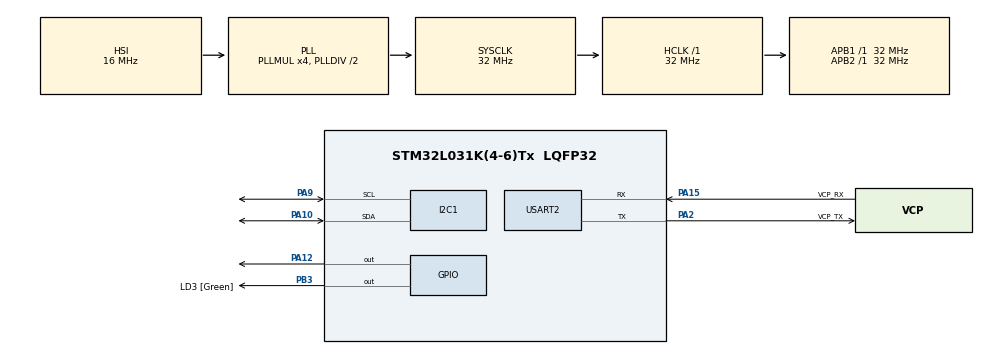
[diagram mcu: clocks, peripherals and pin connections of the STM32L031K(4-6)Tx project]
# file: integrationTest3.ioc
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Mcu.Family=STM32L0
RCC.MSI_VALUE=2097000
PC15-OSC32_OUT.Mode=LSE-External-Oscillator
PA10.Mode=I2C
PA14.GPIO_Label=TCK
VP_RTC_VS_RTC_Activate.Mode=RTC_Enabled
PC14-OSC32_IN.Signal=RCC_OSC32_IN
RCC.SYSCLKSource=RCC_SYSCLKSOURCE_PLLCLK
ProjectManager.StackSize=0x400
PA13.Signal=SYS_SWDIO
RCC.HSI16_VALUE=16000000
PA15.GPIO_Label=VCP_RX
PA9.Mode=I2C
PA12.Signal=GPIO_Output
ProjectManager.TargetToolchain=STM32CubeIDE
RCC.HCLKFreq_Value=32000000
RCC.APB2TimFreq_Value=32000000
PA9.Signal=I2C1_SCL
I2C1.Timing=0x00707CBB
PC15-OSC32_OUT.Signal=RCC_OSC32_OUT
RCC.AHBFreq_Value=32000000
RCC.HSE_VALUE=8000000
board=NUCLEO-L031K6
USART2.VirtualMode-Asynchronous=VM_ASYNC
RCC.VCOOutputFreq_Value=64000000
PA15.Mode=Asynchronous
RCC.PLLMUL=RCC_PLLMUL_4
RCC.APB2Freq_Value=32000000
PC14-OSC32_IN.Mode=LSE-External-Oscillator
PA14.Mode=Serial_Wire
PA13.Mode=Serial_Wire
Mcu.Name=STM32L031K(4-6)Tx
PA2.Signal=USART2_TX
PA13.GPIO_Label=TMS
PB3.Signal=GPIO_Output
RCC.SYSCLKFreq_VALUE=32000000
Mcu.Package=LQFP32
PA2.GPIO_Label=VCP_TX
PA10.Signal=I2C1_SDA
PA14.Signal=SYS_SWCLK
PA15.Signal=USART2_RX
ProjectManager.HeapSize=0x200
RCC.HSI_VALUE=16000000
RCC.APB1TimFreq_Value=32000000
PA2.Mode=Asynchronous
RCC.APB1Freq_Value=32000000
RCC.HSI48_VALUE=48000000
PB3.GPIO_Label=LD3 [Green]

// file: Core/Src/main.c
/* USER CODE BEGIN Header */
/**
  ******************************************************************************
  * @file           : main.c
  * @brief          : Main program body
  ******************************************************************************
  * @attention
  *
  * <h2><center>&copy; Copyright (c) 2021 STMicroelectronics.
  * All rights reserved.</center></h2>
  *
  * This software component is licensed by ST under BSD 3-Clause license,
  * the "License"; You may not use this file except in compliance with the
  * License. You may obtain a copy of the License at:
  *                        opensource.org/licenses/BSD-3-Clause
  *
  ******************************************************************************
  */
/* USER CODE END Header */
#include "main.h"

I2C_HandleTypeDef hi2c1;

RTC_HandleTypeDef hrtc;

UART_HandleTypeDef huart2;

void SystemClock_Config(void);
static void MX_GPIO_Init(void);
static void MX_USART2_UART_Init(void);
static void MX_I2C1_Init(void);
static void MX_RTC_Init(void);
float lightSensor(void);
int moistureSensor(void);
void LightOutput(int);
void WaterOutput(int);
void setDate(void);
void set_time (void);
void get_time(void);
void Error_Handler(void);

int main(void)
{

  /* MCU Configuration--------------------------------------------------------*/

  /* Reset of all peripherals, Initializes the Flash interface and the Systick. */
  HAL_Init();

  /* Configure the system clock */
  SystemClock_Config();

  /* Initialize all configured peripherals */
  MX_GPIO_Init();
  MX_USART2_UART_Init();
  MX_I2C1_Init();
  MX_RTC_Init();
  /* USER CODE BEGIN 2 */
  //Local Variables
    int mois;
    int basil = 1;
    int rosemary = 0;
    int thyme = 0;
    char* time[10];
    char* date[10];
    float light;
    int dec;
    int days;
    int days2;
    int timeCon;
    int hours, mins, secs;
    int hourtosmecs, mintosmecs, secstosmecs;
    set_time();
    get_time(&time, &date);
  /* USER CODE END 2 */

  /* Infinite loop */
  while (1)
  {
	  //Get Time from RTC
	         get_time(&time, &date);
	         sscanf(time, "%d:%d:%d", &hours, &mins, &secs);

	         //time conversion
	         hourtosmecs = hours * 3600000000;
	         mintosmecs = mins * 60000000;
	         secstosmecs = secs * 1000000;
	         timeCon = hourtosmecs + mintosmecs + secstosmecs;

	         //HAL_RTC_GetDate(&hrtc, &sDate, RTC_FORMAT_BIN);

	         //Day counter for thyme
	         if (timeCon == 86400000000 && days <= 10){
	             	days = days + 1;
	             }
	             else {
	             	days = 0;
	             }
	         //Day counter for rosemary
	             if (timeCon == 86400000000 && days2 <= 14){
	                 	days2 = days2 + 1;
	                 }
	                 else {
	                 	days2 = 0;
	                 }

	         //Sensor Function Calls
	         light = lightSensor();	//Light Sensor Function Call
	         mois = moistureSensor(); //Moisture Sensor Function Call

	         //Sensor Decisions
	         //Sensor Decision Basil
	         if (basil == 1 && thyme == 0 && rosemary == 0){
	           	if (light <3000 && timeCon < 28800000000){
	            		dec = 1;
	            		LightOutput(dec); //Light Output Function Call- ON
	            	}
	            	if (light >=3000 && timeCon < 28800000000){
	            	    dec = 0;
	            	    LightOutput(dec); //Light Output Function Call- OFF
	            	}
	            	if (mois <350){
	            	    dec = 1;
	            	    WaterOutput(dec); //Water Output Function Call- ON
	            	}
	            	if (mois >=350){
	            	    dec = 0;
	            	    WaterOutput(dec); //Water Output Function Call- OFF
	            	}
	         }

	         //Sensor Decision Thyme
	         if (basil == 0 && thyme == 1 && rosemary == 0){
	            	if (light <9000 && timeCon < 28800000000){
	            	    dec = 1;
	            	    LightOutput(dec); //Light Output Function Call- ON
	            	}
	            	if (light >=9000 && timeCon < 28800000000){
	            	    dec = 0;
	            	    LightOutput(dec); //Light Output Function Call- OFF
	            	}

	            	if (mois <350 && days >= 10){
	                 dec = 1;
	                 WaterOutput(dec); //Water Output Function Call- ON
	             }
	             if (mois >=350 && days <= 10){
	                 dec = 0;
	                 WaterOutput(dec); //Water Output Function Call- OFF
	             }
	         }

	         //Sensor Decision Rosemary
	         if (basil == 0 && thyme == 0 && rosemary == 1){
	             if (light <9000 && timeCon < 28800000000){
	             	dec = 1;
	                 LightOutput(dec); //Light Output Function Call- ON
	             }
	             if (light >=9000 && timeCon < 28800000000){
	                	dec = 0;
	                 LightOutput(dec); //Light Output Function Call- OFF
	             }

	             if (mois <350 && days2 <= 183){
	                	dec = 1;
	                 WaterOutput(dec); //Water Output Function Call- ON
	             }
	             if (mois >=350 && days2 >= 14){
	                	dec = 0;
	                	WaterOutput(dec); //Water Output Function Call- OFF
	             }
	         }
  }
}

void SystemClock_Config(void)
{
  RCC_OscInitTypeDef RCC_OscInitStruct = {0};
  RCC_ClkInitTypeDef RCC_ClkInitStruct = {0};
  RCC_PeriphCLKInitTypeDef PeriphClkInit = {0};

  /** Configure the main internal regulator output voltage
  */
  __HAL_PWR_VOLTAGESCALING_CONFIG(PWR_REGULATOR_VOLTAGE_SCALE1);
  /** Initializes the RCC Oscillators according to the specified parameters
  * in the RCC_OscInitTypeDef structure.
  */
  RCC_OscInitStruct.OscillatorType = RCC_OSCILLATORTYPE_HSI|RCC_OSCILLATORTYPE_LSI;
  RCC_OscInitStruct.HSIState = RCC_HSI_ON;
  RCC_OscInitStruct.HSICalibrationValue = RCC_HSICALIBRATION_DEFAULT;
  RCC_OscInitStruct.LSIState = RCC_LSI_ON;
  RCC_OscInitStruct.PLL.PLLState = RCC_PLL_ON;
  RCC_OscInitStruct.PLL.PLLSource = RCC_PLLSOURCE_HSI;
  RCC_OscInitStruct.PLL.PLLMUL = RCC_PLLMUL_4;
  RCC_OscInitStruct.PLL.PLLDIV = RCC_PLLDIV_2;
  if (HAL_RCC_OscConfig(&RCC_OscInitStruct) != HAL_OK)
  {
    Error_Handler();
  }
  /** Initializes the CPU, AHB and APB buses clocks
  */
  RCC_ClkInitStruct.ClockType = RCC_CLOCKTYPE_HCLK|RCC_CLOCKTYPE_SYSCLK
                              |RCC_CLOCKTYPE_PCLK1|RCC_CLOCKTYPE_PCLK2;
  RCC_ClkInitStruct.SYSCLKSource = RCC_SYSCLKSOURCE_PLLCLK;
  RCC_ClkInitStruct.AHBCLKDivider = RCC_SYSCLK_DIV1;
  RCC_ClkInitStruct.APB1CLKDivider = RCC_HCLK_DIV1;
  RCC_ClkInitStruct.APB2CLKDivider = RCC_HCLK_DIV1;

  if (HAL_RCC_ClockConfig(&RCC_ClkInitStruct, FLASH_LATENCY_1) != HAL_OK)
  {
    Error_Handler();
  }
  PeriphClkInit.PeriphClockSelection = RCC_PERIPHCLK_USART2|RCC_PERIPHCLK_I2C1
                              |RCC_PERIPHCLK_RTC;
  PeriphClkInit.Usart2ClockSelection = RCC_USART2CLKSOURCE_PCLK1;
  PeriphClkInit.I2c1ClockSelection = RCC_I2C1CLKSOURCE_PCLK1;
  PeriphClkInit.RTCClockSelection = RCC_RTCCLKSOURCE_LSI;
  if (HAL_RCCEx_PeriphCLKConfig(&PeriphClkInit) != HAL_OK)
  {
    Error_Handler();
  }
}

static void MX_I2C1_Init(void)
{

  hi2c1.Instance = I2C1;
  hi2c1.Init.Timing = 0x00707CBB;
  hi2c1.Init.OwnAddress1 = 0;
  hi2c1.Init.AddressingMode = I2C_ADDRESSINGMODE_7BIT;
  hi2c1.Init.DualAddressMode = I2C_DUALADDRESS_DISABLE;
  hi2c1.Init.OwnAddress2 = 0;
  hi2c1.Init.OwnAddress2Masks = I2C_OA2_NOMASK;
  hi2c1.Init.GeneralCallMode = I2C_GENERALCALL_DISABLE;
  hi2c1.Init.NoStretchMode = I2C_NOSTRETCH_DISABLE;
  if (HAL_I2C_Init(&hi2c1) != HAL_OK)
  {
    Error_Handler();
  }
  /** Configure Analogue filter
  */
  if (HAL_I2CEx_ConfigAnalogFilter(&hi2c1, I2C_ANALOGFILTER_ENABLE) != HAL_OK)
  {
    Error_Handler();
  }
  /** Configure Digital filter
  */
  if (HAL_I2CEx_ConfigDigitalFilter(&hi2c1, 0) != HAL_OK)
  {
    Error_Handler();
  }

}

static void MX_RTC_Init(void)
{

  /** Initialize RTC Only
  */
  hrtc.Instance = RTC;
  hrtc.Init.HourFormat = RTC_HOURFORMAT_24;
  hrtc.Init.AsynchPrediv = 127;
  hrtc.Init.SynchPrediv = 255;
  hrtc.Init.OutPut = RTC_OUTPUT_DISABLE;
  hrtc.Init.OutPutRemap = RTC_OUTPUT_REMAP_NONE;
  hrtc.Init.OutPutPolarity = RTC_OUTPUT_POLARITY_HIGH;
  hrtc.Init.OutPutType = RTC_OUTPUT_TYPE_OPENDRAIN;
  if (HAL_RTC_Init(&hrtc) != HAL_OK)
  {
    Error_Handler();
  }

}

static void MX_USART2_UART_Init(void)
{

  huart2.Instance = USART2;
  huart2.Init.BaudRate = 115200;
  huart2.Init.WordLength = UART_WORDLENGTH_8B;
  huart2.Init.StopBits = UART_STOPBITS_1;
  huart2.Init.Parity = UART_PARITY_NONE;
  huart2.Init.Mode = UART_MODE_TX_RX;
  huart2.Init.HwFlowCtl = UART_HWCONTROL_NONE;
  huart2.Init.OverSampling = UART_OVERSAMPLING_16;
  huart2.Init.OneBitSampling = UART_ONE_BIT_SAMPLE_DISABLE;
  huart2.AdvancedInit.AdvFeatureInit = UART_ADVFEATURE_NO_INIT;
  if (HAL_UART_Init(&huart2) != HAL_OK)
  {
    Error_Handler();
  }

}

static void MX_GPIO_Init(void)
{
  GPIO_InitTypeDef GPIO_InitStruct = {0};

  /* GPIO Ports Clock Enable */
  __HAL_RCC_GPIOC_CLK_ENABLE();
  __HAL_RCC_GPIOA_CLK_ENABLE();
  __HAL_RCC_GPIOB_CLK_ENABLE();

  /*Configure GPIO pin Output Level */
  HAL_GPIO_WritePin(GPIOA, GPIO_PIN_12, GPIO_PIN_RESET);

  /*Configure GPIO pin Output Level */
  HAL_GPIO_WritePin(LD3_GPIO_Port, LD3_Pin, GPIO_PIN_RESET);

  /*Configure GPIO pin : PA12 */
  GPIO_InitStruct.Pin = GPIO_PIN_12;
  GPIO_InitStruct.Mode = GPIO_MODE_OUTPUT_PP;
  GPIO_InitStruct.Pull = GPIO_NOPULL;
  GPIO_InitStruct.Speed = GPIO_SPEED_FREQ_LOW;
  HAL_GPIO_Init(GPIOA, &GPIO_InitStruct);

  /*Configure GPIO pin : LD3_Pin */
  GPIO_InitStruct.Pin = LD3_Pin;
  GPIO_InitStruct.Mode = GPIO_MODE_OUTPUT_PP;
  GPIO_InitStruct.Pull = GPIO_NOPULL;
  GPIO_InitStruct.Speed = GPIO_SPEED_FREQ_LOW;
  HAL_GPIO_Init(LD3_GPIO_Port, &GPIO_InitStruct);

}

float lightSensor(void){
	 /*Function Description: Light Sensor Code
	 *Author: Elizabeth Scharre
	 *Date Updated: 3/30/21
	 *Inputs: None
	 *Outputs: float ambient light value in lux*/

	 //local variables
	 const uint8_t sensorAddress = 0x10;
	 const uint16_t CONFIG_VALUE = 0x0000;
	 float out;
	 float gain = 1.8432; //Gain for 1/8 gain & 25ms IT (lower resolution but more range)
	 uint16_t Resolution;
	 uint16_t WhiteChannel;
	 float WC;
	 uint8_t lightResolutionData[2];
	 uint8_t WhiteChannelData[2];

	 //Process
	 HAL_I2C_Mem_Write(&hi2c1, (sensorAddress<<1), 0x00, 1, &CONFIG_VALUE, 2, 50);
	 HAL_I2C_Mem_Write(&hi2c1, (sensorAddress<<1), 0x03, 1, &CONFIG_VALUE, 2, 50);
	 HAL_I2C_Mem_Read(&hi2c1, (sensorAddress << 1) | 0x01, 0x04, 1, &lightResolutionData, 2, 50);
	 HAL_I2C_Mem_Read(&hi2c1, (sensorAddress << 1) | 0x01, 0x05, 1, &WhiteChannelData, 2, 50);
	 Resolution = (lightResolutionData[1]<<8) | lightResolutionData[0];
	 WhiteChannel = (WhiteChannelData[1]<<8) | WhiteChannelData[0];

	 //Conversion
	 WC = WhiteChannel; //Int to float conversion

	 out = gain * WC; //Ambient light calculation

	 return out;
}

int moistureSensor(void){
	 /*Function Description: Moisture Sensor Code
	 *Author: Elizabeth Scharre
	 *Date Updated: 3/30/21
	 *Inputs: None
	 *Outputs: float moisture value and int cap*/

	 //local variables
	 HAL_StatusTypeDef ret;
	 uint8_t buf[12];
	 uint16_t capac = 0;

	 //Process
	 buf[0] = 0x00;
	 buf[1] = 0x04;
	 ret = HAL_I2C_Master_Transmit(&hi2c1,0x36<<1, buf, 2, HAL_MAX_DELAY);
	 if ( ret != HAL_OK ) {
		 strcpy((char*)buf, "Error Tx\r\n");
	 	 } else {
	 		 ret = HAL_I2C_Master_Receive(&hi2c1, 0x36<<1, buf, 4, HAL_MAX_DELAY); //previously 2

	 		 if ( ret != HAL_OK ) {
	 			 strcpy((char*)buf, "Error Rx\r\n");
	 		 	 } else {

	 		 		 //Combine the bytes
	 		 		 capac = ((uint16_t)buf[0] <<8) | buf[1];

	 		 	 }
	 	 }

	 return capac;
}

void LightOutput(int decision){
	 /*Function Description: Light Output Code
	 *Author: Elizabeth Scharre & Sophia Korner
	 *Date Updated: 3/30/21
	 *Inputs: int decision from main due to sensor code
	 *Outputs: none*/

	 //local variables

	 //Toggle Light On/Off

		if (decision == 1){
			HAL_GPIO_TogglePin (GPIOA, GPIO_PIN_12); //Pin assigned to GPIO Output by IDE
		}
		if (decision == 0){
			HAL_Delay (1800000);   /*Insert delay 30 minutes*/
		}

		 return;
}

void WaterOutput(int decision){
	 /*Function Description: Light Output Code
	 *Author: Sophia Korner
	 *Date Updated: 3/30/21
	 *Inputs: int decision from main due to sensor code
	 *Outputs: none*/

	 //local variables

	 //Toggle water on/off

		if (decision == 1){
			HAL_GPIO_WritePin(GPIOA,GPIO_PIN_3,GPIO_PIN_SET);      //Turning the motor on (all 4 signal pins
			HAL_GPIO_WritePin(GPIOA,GPIO_PIN_4,GPIO_PIN_SET); 	   //are turned on here)
			HAL_GPIO_WritePin(GPIOA,GPIO_PIN_5,GPIO_PIN_SET);
			HAL_GPIO_WritePin(GPIOA,GPIO_PIN_6,GPIO_PIN_SET);

			HAL_Delay(2000);
		}
		if (decision == 0){
			HAL_GPIO_WritePin(GPIOA,GPIO_PIN_3,GPIO_PIN_RESET);   //Turning all 4 motor pins off
			HAL_GPIO_WritePin(GPIOA,GPIO_PIN_4,GPIO_PIN_RESET);   //The motor will only be hooked up to two of them
			HAL_GPIO_WritePin(GPIOA,GPIO_PIN_5,GPIO_PIN_RESET);
			HAL_GPIO_WritePin(GPIOA,GPIO_PIN_6,GPIO_PIN_RESET);

		}

	 return;
}

void setDate(void) {
	 /*Function Description: Set Date
		 *Author: Elizabeth Scharre
		 *Referenced: https://cpp.hotexamples.com/site/file?hash=0x00a65a0e2d1fe117501197c4e659a55f1b047592c7c82f9d00c875099b831a0a&fullName=Remote_Dev/cmdline_functions.c&project=fibrain/Remote_Dev
		 *Functionality: This function is supposed to set the Date
		 *Date Updated: 4/06/21
		 *Inputs: none
		 *Outputs: none*/
  TM_RTC_Time_t time;
  int tmp=0;
  TM_RTC_GetDateTime(&time, TM_RTC_Format_BIN);
  tmp = cmdlineGetArgInt(1);
  if (tmp > 0 && tmp < 32)
    time.date=tmp;
  tmp = cmdlineGetArgInt(2);
  if (tmp > 0 && tmp < 13)
    time.month=tmp;
  tmp = cmdlineGetArgInt(3);
  if (tmp >= 0 && tmp <= 99)
    time.year=tmp;
  TM_RTC_SetDateTime(&time, TM_RTC_Format_BIN);
  conf_bit(SET,SETTINGS_1,DATE_SET);
  //TM_USART_Puts(MENU_USART,"Date has been sucessfully set!\n\r");
}

void set_time (void)
{
	/*Function Description: Set Time
			 *Author: Elizabeth Scharre
			 *Referenced: https://cpp.hotexamples.com/site/file?hash=0x00a65a0e2d1fe117501197c4e659a55f1b047592c7c82f9d00c875099b831a0a&fullName=Remote_Dev/cmdline_functions.c&project=fibrain/Remote_Dev
			 *Functionality: This function is supposed to set the time
			 *Date Updated: 4/06/21
			 *Inputs: none
			 *Outputs: none*/
	 TM_RTC_Time_t time;
	  int tmp=0;
	  TM_RTC_GetDateTime(&time, TM_RTC_Format_BIN);
	  tmp = cmdlineGetArgInt(1);
	  if (tmp > 0 && tmp < 25)
	  time.hours=tmp;
	  tmp = cmdlineGetArgInt(2);
	  if (tmp > 0 && tmp < 61)
	  time.minutes=tmp;
	  tmp = cmdlineGetArgInt(3);
	  if (tmp > 0 && tmp < 61)
	  time.seconds=tmp;
	  TM_RTC_SetDateTime(&time, TM_RTC_Format_BIN);
	  conf_bit(SET,SETTINGS_1,TIME_SET);
	  //TM_USART_Puts(MENU_USART,"Time has been sucessfully set!\n\r");
}

void get_time(void){
	/*Function Description: Get Time
		 *Author: Elizabeth Scharre
		 *Referenced: https://cpp.hotexamples.com/site/file?hash=0x00a65a0e2d1fe117501197c4e659a55f1b047592c7c82f9d00c875099b831a0a&fullName=Remote_Dev/cmdline_functions.c&project=fibrain/Remote_Dev
		 *Functionality: This function is supposed to get the time so I can access it in the while loop in main
		 *Date Updated: 4/06/21
		 *Inputs: none
		 *Outputs: none*/

	TM_RTC_Time_t datatime;
	  TM_RTC_GetDateTime(&datatime, TM_RTC_Format_BIN);
	  sprintf(buffer,"Current time: d:d:d, d.d.dr.\n\r",
	          datatime.hours, datatime.minutes, datatime.seconds,
	          datatime.date, datatime.month, datatime.year);
	  TM_USART_Puts(MENU_USART,buffer);
}

void Error_Handler(void)
{
  __disable_irq();
  while (1)
  {
  }
}

/************************ (C) COPYRIGHT STMicroelectronics *****END OF FILE****/
